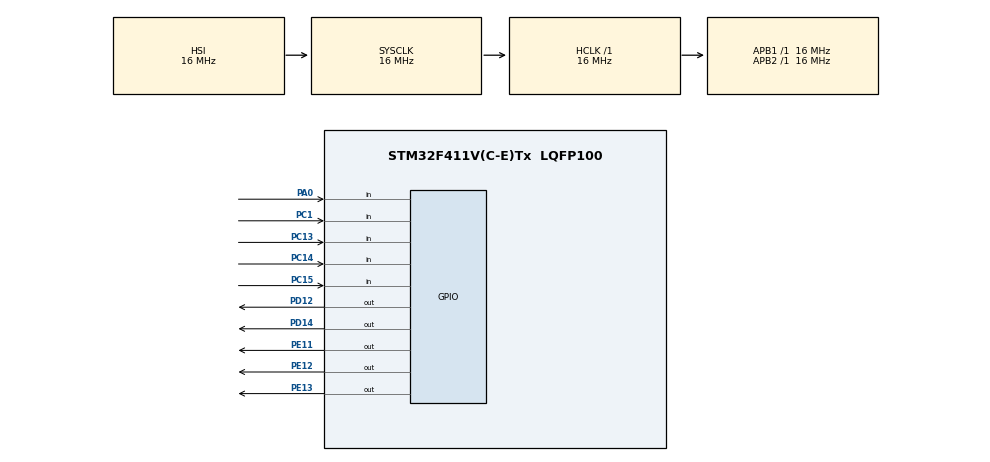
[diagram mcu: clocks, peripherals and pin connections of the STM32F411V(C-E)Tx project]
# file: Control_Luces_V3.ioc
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Mcu.Family=STM32F4
Mcu.Name=STM32F411V(C-E)Tx
Mcu.Package=LQFP100
NVIC.PriorityGroup=NVIC_PRIORITYGROUP_4
NVIC.TIM2_IRQn=true\:0\:0\:false\:true\:true\:2\:true
PA0-WKUP.Signal=GPIO_Input
PC1.Signal=GPIO_Input
PC13-ANTI_TAMP.Signal=GPIO_Input
PC14-OSC32_IN.Signal=GPIO_Input
PC15-OSC32_OUT.Signal=GPIO_Input
PD12.Signal=GPIO_Output
PD14.Signal=GPIO_Output
PE11.Signal=GPIO_Output
PE12.Signal=GPIO_Output
PE13.Signal=GPIO_Output
ProjectManager.HeapSize=0x200
ProjectManager.StackSize=0x400
ProjectManager.TargetToolchain=MDK-ARM V5
RCC.AHBFreq_Value=16000000
RCC.APB1Freq_Value=16000000
RCC.APB2Freq_Value=16000000
RCC.CortexFreq_Value=16000000
RCC.HSE_VALUE=25000000
RCC.HSI_VALUE=16000000
RCC.LSE_VALUE=32768
RCC.SYSCLKFreq_VALUE=16000000
RCC.VCOOutputFreq_Value=192000000
TIM2.Period=800
TIM2.Prescaler=35999
VP_TIM2_VS_ClockSourceINT.Mode=Internal
board=custom

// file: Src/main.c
/* USER CODE BEGIN Header */
/**
  ******************************************************************************
  * @file           : main.c
  * @brief          : Main program body
  ******************************************************************************
  ** This notice applies to any and all portions of this file
  * that are not between comment pairs USER CODE BEGIN and
  * USER CODE END. Other portions of this file, whether
  * inserted by the user or by software development tools
  * are owned by their respective copyright owners.
  *
  * COPYRIGHT(c) 2018 STMicroelectronics
  *
  * Redistribution and use in source and binary forms, with or without modification,
  * are permitted provided that the following conditions are met:
  *   1. Redistributions of source code must retain the above copyright notice,
  *      this list of conditions and the following disclaimer.
  *   2. Redistributions in binary form must reproduce the above copyright notice,
  *      this list of conditions and the following disclaimer in the documentation
  *      and/or other materials provided with the distribution.
  *   3. Neither the name of STMicroelectronics nor the names of its contributors
  *      may be used to endorse or promote products derived from this software
  *      without specific prior written permission.
  *
  * THIS SOFTWARE IS PROVIDED BY THE COPYRIGHT HOLDERS AND CONTRIBUTORS "AS IS"
  * AND ANY EXPRESS OR IMPLIED WARRANTIES, INCLUDING, BUT NOT LIMITED TO, THE
  * IMPLIED WARRANTIES OF MERCHANTABILITY AND FITNESS FOR A PARTICULAR PURPOSE ARE
  * DISCLAIMED. IN NO EVENT SHALL THE COPYRIGHT HOLDER OR CONTRIBUTORS BE LIABLE
  * FOR ANY DIRECT, INDIRECT, INCIDENTAL, SPECIAL, EXEMPLARY, OR CONSEQUENTIAL
  * DAMAGES (INCLUDING, BUT NOT LIMITED TO, PROCUREMENT OF SUBSTITUTE GOODS OR
  * SERVICES; LOSS OF USE, DATA, OR PROFITS; OR BUSINESS INTERRUPTION) HOWEVER
  * CAUSED AND ON ANY THEORY OF LIABILITY, WHETHER IN CONTRACT, STRICT LIABILITY,
  * OR TORT (INCLUDING NEGLIGENCE OR OTHERWISE) ARISING IN ANY WAY OUT OF THE USE
  * OF THIS SOFTWARE, EVEN IF ADVISED OF THE POSSIBILITY OF SUCH DAMAGE.
  *
  ******************************************************************************
  */
/* USER CODE END Header */

#include "main.h"

/* USER CODE BEGIN PTD */
#define REF_Debounce 300
/* USER CODE END PTD */

TIM_HandleTypeDef htim2;

/* USER CODE BEGIN PV */
//Para modos de funcionamiento
volatile int EnEspera_Funcionando = 0;
volatile int user_mode = 0;

//Para el debounce
extern uint32_t last_time;
extern uint32_t counter_ms;

//Para estado de los pulsadores
int boton_pulsado_azul = 0;
int boton_pulsado_L1 = 0;
int boton_pulsado_L2 = 0;
int boton_pulsado_L3 = 0;
/* USER CODE END PV */

void SystemClock_Config(void);
static void MX_GPIO_Init(void);
static void MX_TIM2_Init(void);
static void MX_NVIC_Init(void);

/* USER CODE BEGIN PFP */
void ConfigureSysTick(void);
uint32_t millis(void);
/* USER CODE END PFP */

int main(void)
{

  /* MCU Configuration--------------------------------------------------------*/

  /* Reset of all peripherals, Initializes the Flash interface and the Systick. */
  HAL_Init();

  /* Configure the system clock */
  SystemClock_Config();

  /* Initialize all configured peripherals */
  MX_GPIO_Init();
  MX_TIM2_Init();

  /* Initialize interrupts */
  MX_NVIC_Init();
  /* USER CODE BEGIN 2 */
	SysTick_Config(SystemCoreClock/1000); //Para interrupciones cada 1ms
	HAL_TIM_Base_Start_IT(&htim2);
	user_mode = 0;
	EnEspera_Funcionando = 0;

  /* USER CODE END 2 */

  /* Infinite loop */
  while (1)
  {

    /* USER CODE BEGIN 3 */
		if (HAL_GPIO_ReadPin(GPIOA, GPIO_PIN_0) == 1 && boton_pulsado_azul == 0){
			last_time = millis(); //Guarda el valor de millis()
			boton_pulsado_azul = 1;
		}

		if ((HAL_GPIO_ReadPin(GPIOA, GPIO_PIN_0) == 0) && (millis() - last_time) > REF_Debounce && (boton_pulsado_azul == 1)){

			boton_pulsado_azul = 0;

			if (EnEspera_Funcionando == 0){
				HAL_GPIO_WritePin(GPIOE, GPIO_PIN_11, GPIO_PIN_RESET);
				HAL_GPIO_WritePin(GPIOE, GPIO_PIN_12, GPIO_PIN_RESET);
				HAL_GPIO_WritePin(GPIOE, GPIO_PIN_13, GPIO_PIN_RESET);
				EnEspera_Funcionando = 1;
			}

			else if(EnEspera_Funcionando == 1){
				HAL_GPIO_WritePin(GPIOE, GPIO_PIN_11, GPIO_PIN_RESET);
				HAL_GPIO_WritePin(GPIOE, GPIO_PIN_12, GPIO_PIN_RESET);
				HAL_GPIO_WritePin(GPIOE, GPIO_PIN_13, GPIO_PIN_RESET);
				EnEspera_Funcionando = 0;
			}
		}

		if (EnEspera_Funcionando == 0){

			HAL_GPIO_WritePin(GPIOD, GPIO_PIN_14, GPIO_PIN_RESET); //Led rojo se apaga

			//Cambio de user_mode a automАtico
			if (HAL_GPIO_ReadPin(GPIOC, GPIO_PIN_1) == 0){
					HAL_GPIO_WritePin(GPIOE, GPIO_PIN_11, GPIO_PIN_RESET);
					HAL_GPIO_WritePin(GPIOE, GPIO_PIN_12, GPIO_PIN_RESET);
					HAL_GPIO_WritePin(GPIOE, GPIO_PIN_13, GPIO_PIN_RESET);
					user_mode = 1;
			}

			//Usuario en modo manual
			if (user_mode == 0){

				HAL_GPIO_WritePin (GPIOD, GPIO_PIN_12, GPIO_PIN_RESET); //Led verde apagado

				//Si se pulsa el primer pulsador...
				if (HAL_GPIO_ReadPin(GPIOC, GPIO_PIN_15) == 0 && boton_pulsado_L1 == 0){
					last_time = millis(); //Guarda el valor de millis()
					boton_pulsado_L1 = 1;
				}

				if ((HAL_GPIO_ReadPin(GPIOC, GPIO_PIN_15) == 0) && (millis() - last_time) > REF_Debounce && (boton_pulsado_L1 == 1)){
						HAL_GPIO_TogglePin(GPIOE, GPIO_PIN_11);
						boton_pulsado_L1 = 0;
				}

				//Si se pulsa el segundo pulsador...
				if (HAL_GPIO_ReadPin(GPIOC, GPIO_PIN_14) == 0 && boton_pulsado_L2 == 0){
					last_time = millis(); //Guarda el valor de millis()
					boton_pulsado_L2 = 1;
				}

				if ((HAL_GPIO_ReadPin(GPIOC, GPIO_PIN_14) == 0) && (millis() - last_time) > REF_Debounce && (boton_pulsado_L1 == 1)){
						HAL_GPIO_TogglePin(GPIOE, GPIO_PIN_12);
						boton_pulsado_L2 = 0;
				}

				//Si se pulsa el tercer pulsador...
				if (HAL_GPIO_ReadPin(GPIOC, GPIO_PIN_13) == 0 && boton_pulsado_L3 == 0){
					last_time = millis(); //Guarda el valor de millis()
					boton_pulsado_L3 = 1;
				}

				if ((HAL_GPIO_ReadPin(GPIOC, GPIO_PIN_13) == 0) && (millis() - last_time) > REF_Debounce && (boton_pulsado_L3 == 1)){
						HAL_GPIO_TogglePin(GPIOE, GPIO_PIN_13);
						boton_pulsado_L3 = 0;
				}
			}

			//Usuario en modo automАtico
			else if (user_mode == 1){
				HAL_GPIO_WritePin (GPIOD, GPIO_PIN_12, GPIO_PIN_SET); //Led verde encendido
				HAL_GPIO_TogglePin(GPIOE, GPIO_PIN_11);
				HAL_Delay(1500);

				HAL_GPIO_TogglePin(GPIOE, GPIO_PIN_13);
				HAL_GPIO_TogglePin(GPIOE, GPIO_PIN_12);
				HAL_Delay(1500);

				HAL_GPIO_TogglePin(GPIOE, GPIO_PIN_13);
				HAL_GPIO_TogglePin(GPIOE, GPIO_PIN_11);
				HAL_Delay(1500);

				HAL_GPIO_TogglePin(GPIOE, GPIO_PIN_12);
				HAL_Delay(1500);
			}
		}

		else if (EnEspera_Funcionando == 1){ //Modo standby
			HAL_GPIO_WritePin(GPIOD, GPIO_PIN_14, GPIO_PIN_SET); //Led rojo
			HAL_GPIO_WritePin (GPIOD, GPIO_PIN_12, GPIO_PIN_RESET); //Led verde
			HAL_GPIO_TogglePin(GPIOE, GPIO_PIN_11);
			HAL_GPIO_TogglePin(GPIOE, GPIO_PIN_12);
			HAL_GPIO_TogglePin(GPIOE, GPIO_PIN_13);
			HAL_Delay(200);
		}
  }
  /* USER CODE END 3 */
}

void SystemClock_Config(void)
{
  RCC_OscInitTypeDef RCC_OscInitStruct = {0};
  RCC_ClkInitTypeDef RCC_ClkInitStruct = {0};

  /**Configure the main internal regulator output voltage
  */
  __HAL_RCC_PWR_CLK_ENABLE();
  __HAL_PWR_VOLTAGESCALING_CONFIG(PWR_REGULATOR_VOLTAGE_SCALE1);
  /**Initializes the CPU, AHB and APB busses clocks
  */
  RCC_OscInitStruct.OscillatorType = RCC_OSCILLATORTYPE_HSI;
  RCC_OscInitStruct.HSIState = RCC_HSI_ON;
  RCC_OscInitStruct.HSICalibrationValue = RCC_HSICALIBRATION_DEFAULT;
  RCC_OscInitStruct.PLL.PLLState = RCC_PLL_NONE;
  if (HAL_RCC_OscConfig(&RCC_OscInitStruct) != HAL_OK)
  {
    Error_Handler();
  }
  /**Initializes the CPU, AHB and APB busses clocks
  */
  RCC_ClkInitStruct.ClockType = RCC_CLOCKTYPE_HCLK|RCC_CLOCKTYPE_SYSCLK
                              |RCC_CLOCKTYPE_PCLK1|RCC_CLOCKTYPE_PCLK2;
  RCC_ClkInitStruct.SYSCLKSource = RCC_SYSCLKSOURCE_HSI;
  RCC_ClkInitStruct.AHBCLKDivider = RCC_SYSCLK_DIV1;
  RCC_ClkInitStruct.APB1CLKDivider = RCC_HCLK_DIV1;
  RCC_ClkInitStruct.APB2CLKDivider = RCC_HCLK_DIV1;

  if (HAL_RCC_ClockConfig(&RCC_ClkInitStruct, FLASH_LATENCY_0) != HAL_OK)
  {
    Error_Handler();
  }
}

/**
  * @brief NVIC Configuration.
  * @retval None
  */
static void MX_NVIC_Init(void)
{
  /* TIM2_IRQn interrupt configuration */
  HAL_NVIC_SetPriority(TIM2_IRQn, 0, 0);
  HAL_NVIC_EnableIRQ(TIM2_IRQn);
}

static void MX_TIM2_Init(void)
{

  TIM_ClockConfigTypeDef sClockSourceConfig = {0};
  TIM_MasterConfigTypeDef sMasterConfig = {0};

  htim2.Instance = TIM2;
  //htim2.Init.Prescaler = 35999;
  htim2.Init.Prescaler = 9999;
  htim2.Init.CounterMode = TIM_COUNTERMODE_UP;
  htim2.Init.Period = 500;
  htim2.Init.ClockDivision = TIM_CLOCKDIVISION_DIV1;
  if (HAL_TIM_Base_Init(&htim2) != HAL_OK)
  {
    Error_Handler();
  }
  sClockSourceConfig.ClockSource = TIM_CLOCKSOURCE_INTERNAL;
  if (HAL_TIM_ConfigClockSource(&htim2, &sClockSourceConfig) != HAL_OK)
  {
    Error_Handler();
  }
  sMasterConfig.MasterOutputTrigger = TIM_TRGO_RESET;
  sMasterConfig.MasterSlaveMode = TIM_MASTERSLAVEMODE_DISABLE;
  if (HAL_TIMEx_MasterConfigSynchronization(&htim2, &sMasterConfig) != HAL_OK)
  {
    Error_Handler();
  }

}

static void MX_GPIO_Init(void)
{
  GPIO_InitTypeDef GPIO_InitStruct = {0};

  /* GPIO Ports Clock Enable */
  __HAL_RCC_GPIOC_CLK_ENABLE();
  __HAL_RCC_GPIOA_CLK_ENABLE();
  __HAL_RCC_GPIOE_CLK_ENABLE();
  __HAL_RCC_GPIOD_CLK_ENABLE();

  /*Configure GPIO pin Output Level */
  HAL_GPIO_WritePin(GPIOE, GPIO_PIN_11|GPIO_PIN_12|GPIO_PIN_13, GPIO_PIN_RESET);

  /*Configure GPIO pin Output Level */
  HAL_GPIO_WritePin(GPIOD, GPIO_PIN_12|GPIO_PIN_14, GPIO_PIN_RESET);

  /*Configure GPIO pins : PC13 PC14 PC15 PC1 */
  GPIO_InitStruct.Pin = GPIO_PIN_13|GPIO_PIN_14|GPIO_PIN_15|GPIO_PIN_1;
  GPIO_InitStruct.Mode = GPIO_MODE_INPUT;
  GPIO_InitStruct.Pull = GPIO_NOPULL;
  HAL_GPIO_Init(GPIOC, &GPIO_InitStruct);

  /*Configure GPIO pin : PA0 */
  GPIO_InitStruct.Pin = GPIO_PIN_0;
  GPIO_InitStruct.Mode = GPIO_MODE_INPUT;
  GPIO_InitStruct.Pull = GPIO_NOPULL;
  HAL_GPIO_Init(GPIOA, &GPIO_InitStruct);

  /*Configure GPIO pins : PE11 PE12 PE13 */
  GPIO_InitStruct.Pin = GPIO_PIN_11|GPIO_PIN_12|GPIO_PIN_13;
  GPIO_InitStruct.Mode = GPIO_MODE_OUTPUT_PP;
  GPIO_InitStruct.Pull = GPIO_NOPULL;
  GPIO_InitStruct.Speed = GPIO_SPEED_FREQ_LOW;
  HAL_GPIO_Init(GPIOE, &GPIO_InitStruct);

  /*Configure GPIO pins : PD12 PD14 */
  GPIO_InitStruct.Pin = GPIO_PIN_12|GPIO_PIN_14;
  GPIO_InitStruct.Mode = GPIO_MODE_OUTPUT_PP;
  GPIO_InitStruct.Pull = GPIO_NOPULL;
  GPIO_InitStruct.Speed = GPIO_SPEED_FREQ_LOW;
  HAL_GPIO_Init(GPIOD, &GPIO_InitStruct);

}

/* USER CODE BEGIN 4 */
void HAL_TIM_PeriodElapsedCallback(TIM_HandleTypeDef *htim)
{
	if (htim->Instance == TIM2){	//Si la fuente es TIM2

		if ((HAL_GPIO_ReadPin(GPIOC, GPIO_PIN_1) == 0) && (user_mode == 1)){
			HAL_GPIO_WritePin(GPIOE, GPIO_PIN_11, GPIO_PIN_RESET);
			HAL_GPIO_WritePin(GPIOE, GPIO_PIN_12, GPIO_PIN_RESET);
			HAL_GPIO_WritePin(GPIOE, GPIO_PIN_13, GPIO_PIN_RESET);
			user_mode = 0;
		}
	}
}

uint32_t millis() {
  return counter_ms;
}
/* USER CODE END 4 */

void Error_Handler(void)
{
}

/************************ (C) COPYRIGHT STMicroelectronics *****END OF FILE****/
